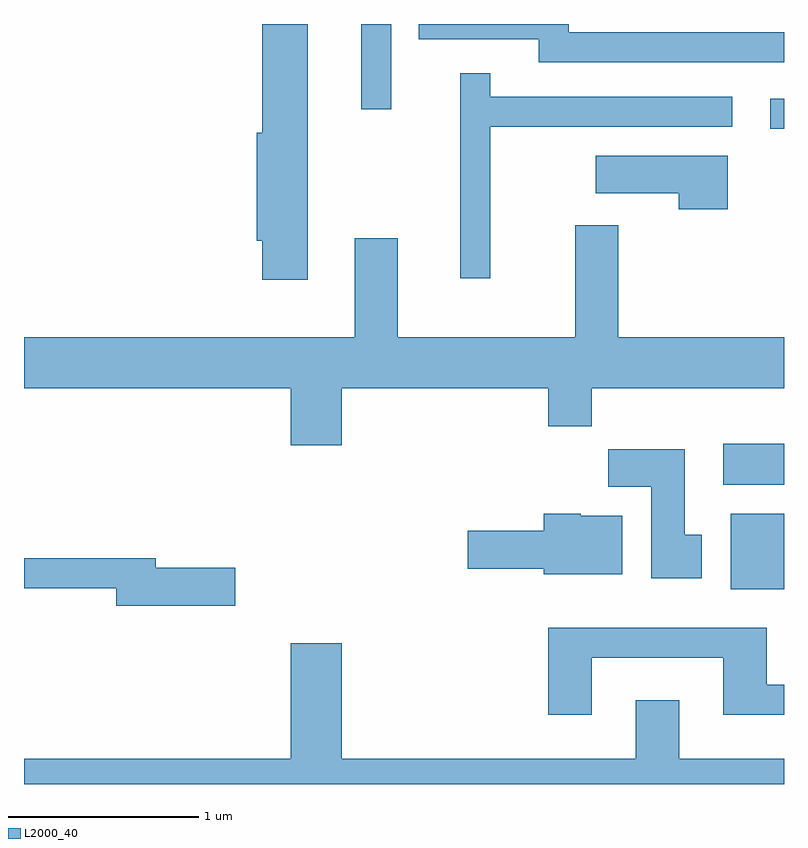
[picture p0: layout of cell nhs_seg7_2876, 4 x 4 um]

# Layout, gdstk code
import gdstk
lib = gdstk.Library(unit=1e-6, precision=1e-09)
def R(c, l, rs):  # rectangles x0, y0, x1, y1
    for r in rs: c.add(gdstk.rectangle(r[:2], r[2:], *l))
def P(c, l, *ps):  # polygons
    for p in ps: c.add(gdstk.Polygon(p, *l))
L2000_40 = (2000, 40)

nhs_seg7_2876 = lib.new_cell('nhs_seg7_2876')
R(nhs_seg7_2876, L2000_40, [(277.331,1693.276,277.611,1693.674), (277.291,1693.826,277.611,1694.044), (277.538,1695.701,277.611,1695.859), (275.386,1695.803,275.544,1696.252)])
P(nhs_seg7_2876, L2000_40, [(275.104,1696.252),(274.866,1696.252),(274.866,1695.679),(274.836,1695.679),(274.836,1695.111),(274.866,1695.111),(274.866,1694.906),(275.104,1694.906)],
  [(277.611,1696.209),(276.479,1696.209),(276.479,1696.252),(275.688,1696.252),(275.688,1696.171),(276.321,1696.171),(276.321,1696.051),(277.611,1696.051)],
  [(276.064,1695.711),(277.338,1695.711),(277.338,1695.869),(276.064,1695.869),(276.064,1695.993),(275.906,1695.993),(275.906,1694.913),(276.064,1694.913)],
  [(277.314,1695.559),(276.621,1695.559),(276.621,1695.361),(277.056,1695.361),(277.056,1695.276),(277.314,1695.276)],
  [(275.284,1694.336),(276.371,1694.336),(276.371,1694.136),(276.599,1694.136),(276.599,1694.336),(277.611,1694.336),(277.611,1694.604),(276.739,1694.604),(276.739,1695.194),(276.511,1695.194),(276.511,1694.604),(275.579,1694.604),(275.579,1695.124),(275.351,1695.124),(275.351,1694.604),(273.611,1694.604),(273.611,1694.336),(275.016,1694.336),(275.016,1694.036),(275.284,1694.036)],
  [(277.179,1693.564),(277.089,1693.564),(277.089,1694.014),(276.686,1694.014),(276.686,1693.816),(276.911,1693.816),(276.911,1693.336),(277.179,1693.336)],
  [(276.759,1693.664),(276.54,1693.664),(276.54,1693.674),(276.346,1693.674),(276.346,1693.584),(275.946,1693.584),(275.946,1693.386),(276.346,1693.386),(276.346,1693.356),(276.759,1693.356)],
  [(274.724,1693.389),(274.304,1693.389),(274.304,1693.439),(273.611,1693.439),(273.611,1693.281),(274.096,1693.281),(274.096,1693.191),(274.724,1693.191)],
  [(276.599,1692.916),(277.291,1692.916),(277.291,1692.616),(277.611,1692.616),(277.611,1692.774),(277.519,1692.774),(277.519,1693.074),(276.371,1693.074),(276.371,1692.616),(276.599,1692.616)],
  [(277.611,1692.384),(277.059,1692.384),(277.059,1692.694),(276.831,1692.694),(276.831,1692.384),(275.284,1692.384),(275.284,1692.994),(275.016,1692.994),(275.016,1692.384),(273.611,1692.384),(273.611,1692.252),(277.611,1692.252)])

lib.write_gds('nhs_seg7_2876.gds')
